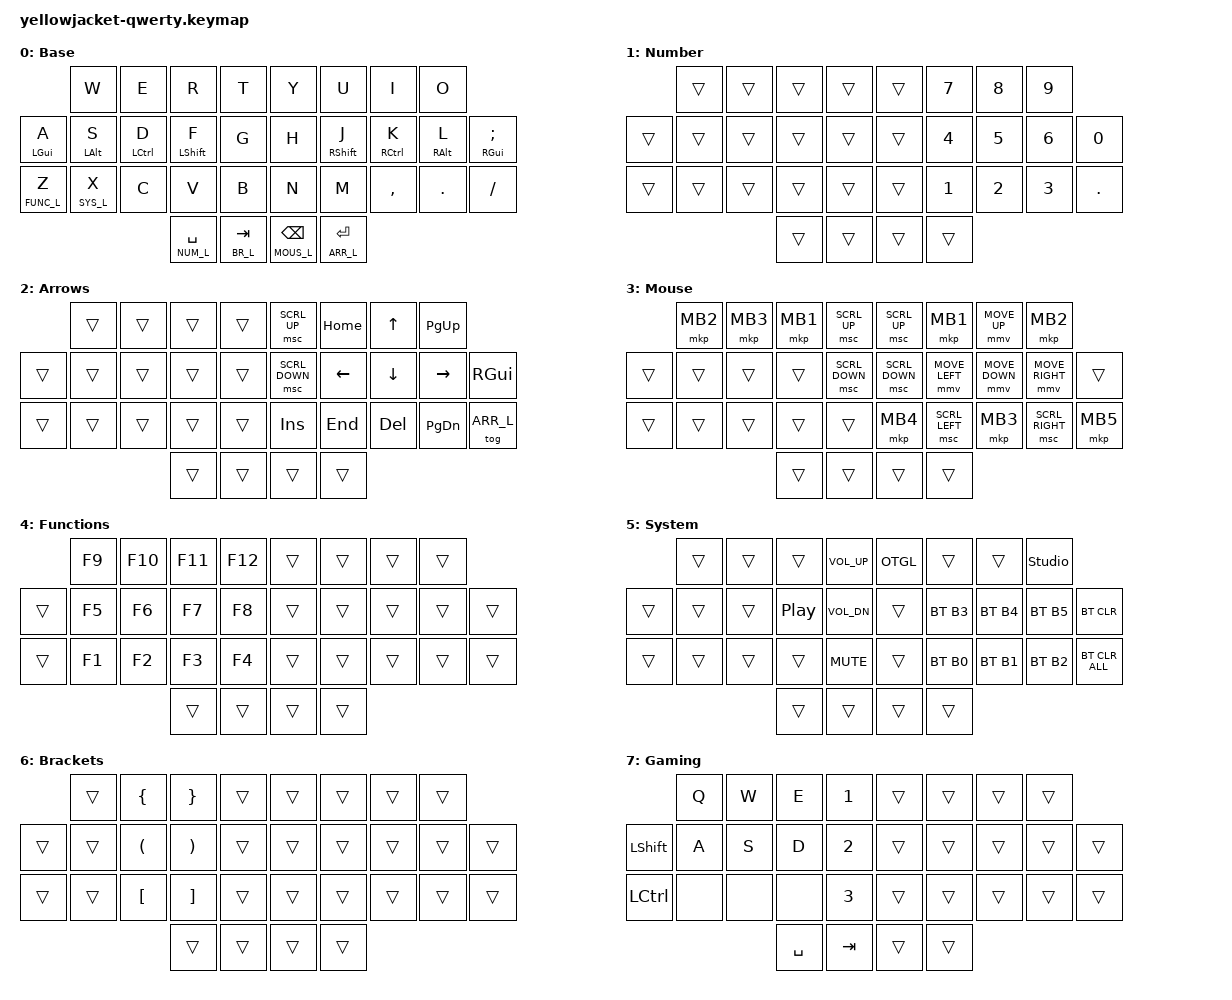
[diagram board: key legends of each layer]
/*
 * Copyright (c) 2020 The ZMK Contributors
 *
 * SPDX-License-Identifier: MIT
 */

#include <behaviors.dtsi>
#include <dt-bindings/zmk/bt.h>
#include <dt-bindings/zmk/ext_power.h>
#include <dt-bindings/zmk/keys.h>
#include <dt-bindings/zmk/outputs.h>

#define ZMK_POINTING_DEFAULT_MOVE_VAL 2000
#define ZMK_POINTING_DEFAULT_SCRL_VAL 20

#include <dt-bindings/zmk/pointing.h>


#define DEF_L  0
#define NUM_L  1
#define ARR_L  2
#define MOUS_L 3
#define FUNC_L 4
#define SYS_L  5
#define BR_L   6
#define GA_L   7

#define B0     BT_SEL 0
#define B1     BT_SEL 1
#define B2     BT_SEL 2
#define B3     BT_SEL 3
#define B4     BT_SEL 4
#define B5     BT_SEL 5
#define OTGL   out OUT_TOG
#define BT_C   BT_CLR
#define BT_C_A BT_CLR_ALL

/ {

    behaviors {
        hm: homerow_mods {
            compatible = "zmk,behavior-hold-tap";
            #binding-cells = <2>;
            tapping-term-ms = <150>;
            quick-tap-ms = <0>;
            flavor = "tap-preferred";
            bindings = <&kp>, <&kp>;
        };
    };

    combos {
        compatible = "zmk,combos";

        #define COMBO(NAME, BINDINGS, KEYPOS, LAYERS) \
          combo_##NAME { \
            bindings = <BINDINGS>; \
            key-positions = <KEYPOS>; \
            layers = <LAYERS>; \
          };
        /*                KEY POSITIONS

          ╭────────────────────╮ ╭────────────────────╮
          │      0   1   2   3 | |  4   5   6   7     │
          │  8   9  10  11  12 │ │ 13  14  15  16  17 │
          │ 18  19  20  21  22 │ │ 23  24  25  26  27 │
          ╰───────────╮ 28  29 │ │ 30  31 ╭───────────╯
                      ╰────────╯ ╰────────╯            */
        // Q combo at top corners
        COMBO(lower_q, &kp Q, 0 1, DEF_L)

        // P combo at top right
        COMBO(lower_p, &kp P, 6 7, DEF_L)

        // Colon and semi-colon
        COMBO(colon,     &kp COLON, 15 16, DEF_L)
        COMBO(semicolon, &kp SEMI,  24 25, DEF_L)

        // Escape Keys
        COMBO(left_esc,  &kp ESC, 10 11, DEF_L ARR_L MOUS_L GA_L)
        COMBO(right_esc, &kp ESC, 14 15, DEF_L ARR_L MOUS_L GA_L)

        // Double thumb turbo shift mode
        COMBO(ded_shift_combo, &kp LSHIFT, 29 30, DEF_L)

        // Left hand quotes
        COMBO(q_grave_l,        &kp GRAVE,          9 28, DEF_L)
        COMBO(q_single_quote_l, &kp SINGLE_QUOTE,  10 28, DEF_L)
        COMBO(q_quote_l,        &kp DOUBLE_QUOTES, 11 28, DEF_L)
        COMBO(q_tilde_l,        &kp TILDE,          8 28, DEF_L)

        // Quick numbers
        COMBO(q_0, &kp N0, 31 17, DEF_L)
        COMBO(q_1, &kp N1, 24 31, DEF_L)
        COMBO(q_2, &kp N2, 25 31, DEF_L)
        COMBO(q_3, &kp N3, 26 31, DEF_L)
        COMBO(q_4, &kp N4, 14 31, DEF_L)
        COMBO(q_5, &kp N5, 15 31, DEF_L)
        COMBO(q_6, &kp N6, 16 31, DEF_L)
        COMBO(q_7, &kp N7,  5 31, DEF_L)
        COMBO(q_8, &kp N8,  6 31, DEF_L)
        COMBO(q_9, &kp N9,  7 31, DEF_L)

        // Quick special characters
        COMBO(q_1_sp, &kp EXCLAMATION, 24 30, DEF_L)
        COMBO(q_2_sp, &kp AT_SIGN,     25 30, DEF_L)
        COMBO(q_3_sp, &kp POUND,       26 30, DEF_L)
        COMBO(q_4_sp, &kp DOLLAR,      14 30, DEF_L)
        COMBO(q_5_sp, &kp PERCENT,     15 30, DEF_L)
        COMBO(q_6_sp, &kp CARET,       16 30, DEF_L)
        COMBO(q_7_sp, &kp AMPERSAND,    5 30, DEF_L)
        COMBO(q_8_sp, &kp ASTERISK,     6 30, DEF_L)
        COMBO(q_9_sp, &kp LPAR,         7 30, DEF_L)

        // Backslash && Pipe
        COMBO(q_backslash, &kp BACKSLASH, 30 27, DEF_L)
        COMBO(q_pipe, &kp PIPE, 27 31, DEF_L)

        // Operators
        COMBO(q_equals, &kp EQUAL, 23 30, DEF_L)
        COMBO(q_plus,   &kp PLUS,  4 30, DEF_L)

        // Dash right hand
        COMBO(q_dash, &kp MINUS, 13 30, DEF_L)

        // Underscore left hand
        COMBO(q_underscore, &kp UNDER, 19 20, DEF_L)

        // Toggle arrow, mouse, or gaming layer
        COMBO(tog_mouse,  &tog MOUS_L, 17 30, DEF_L ARR_L MOUS_L GA_L)
        COMBO(tog_arrow,  &tog ARR_L,  30 31, DEF_L ARR_L MOUS_L GA_L)
        COMBO(tog_gaming, &tog GA_L,    4  7, DEF_L ARR_L MOUS_L GA_L)
    };

    conditional_layers {
        compatible = "zmk,conditional-layers";
    };

    keymap {
        compatible = "zmk,keymap";

        default_layer {
            label = "Base";
            bindings = <
        // ╭─────────────┬─────────────┬─────────────┬─────────────┬─────────────╮   ╭─────────────┬─────────────┬─────────────┬─────────────┬─────────────╮
                           &kp W         &kp E         &kp R         &kp T             &kp Y         &kp U         &kp I         &kp O
             &hm LGUI A    &hm LALT S    &hm LCTRL D   &hm LSHIFT F  &kp G             &kp H         &hm RSHIFT J  &hm RCTRL K   &hm RALT L    &hm RGUI SEMI
             &lt FUNC_L Z  &lt SYS_L X   &kp C         &kp V         &kp B             &kp N         &kp M         &kp COMMA     &kp DOT       &kp FSLH
        // ╰─────────────┴─────────────┴─────────────╮                                                           ╭─────────────┴─────────────┴─────────────╯
                                                    &lt NUM_L SPACE  &lt BR_L TAB &lt MOUS_L BACKSPACE &lt ARR_L ENTER
        //                                           ╰─────────────┴─────────────╯   ╰─────────────┴─────────────╯
            >;
        };

        num_layer {
            label = "Number";
            bindings = <
        // ╭─────────────┬─────────────┬─────────────┬─────────────┬─────────────╮   ╭─────────────┬─────────────┬─────────────┬─────────────┬─────────────╮
                             &trans        &trans        &trans        &trans              &trans       &kp N7        &kp N8        &kp N9
               &trans        &trans        &trans        &trans        &trans              &trans       &kp N4        &kp N5        &kp N6        &kp N0
               &trans        &trans        &trans        &trans        &trans              &trans       &kp N1        &kp N2        &kp N3        &kp DOT
        // ╰─────────────┴─────────────┴─────────────╮                                                           ╭─────────────┴─────────────┴─────────────╯
                                                         &trans        &trans              &trans       &trans
        //                                           ╰─────────────┴─────────────╯   ╰─────────────┴─────────────╯
            >;
        };

        arrow_layer {
            label = "Arrows";
            bindings = <
        // ╭─────────────┬─────────────┬─────────────┬─────────────┬─────────────╮   ╭─────────────┬─────────────┬─────────────┬─────────────┬─────────────╮
                             &trans        &trans        &trans        &trans            &msc SCRL_UP   &kp HOME      &kp UP        &kp PG_UP
               &trans        &trans        &trans        &trans        &trans            &msc SCRL_DOWN &kp LEFT      &kp DOWN      &kp RIGHT     &kp RGUI
               &trans        &trans        &trans        &trans        &trans            &kp INS        &kp END       &kp DEL       &kp PG_DN     &tog ARR_L
        // ╰─────────────┴─────────────┴─────────────╮                                                           ╭─────────────┴─────────────┴─────────────╯
                                                         &trans        &trans            &trans         &trans
        //                                           ╰─────────────┴─────────────╯   ╰─────────────┴─────────────╯
            >;
        };

        mouse_layer {
            label = "Mouse";
            bindings = <
        // ╭─────────────┬─────────────┬─────────────┬─────────────┬─────────────╮   ╭─────────────┬─────────────┬─────────────┬─────────────┬─────────────╮
                             &mkp MB2      &mkp MB3      &mkp MB1      &msc SCRL_UP     &msc SCRL_UP    &mkp MB1       &mmv MOVE_UP     &mkp MB2
               &trans        &trans        &trans        &trans        &msc SCRL_DOWN   &msc SCRL_DOWN  &mmv MOVE_LEFT &mmv MOVE_DOWN   &mmv MOVE_RIGHT &trans
               &trans        &trans        &trans        &trans        &trans           &mkp MB4        &msc SCRL_LEFT &mkp MB3         &msc SCRL_RIGHT &mkp MB5
        // ╰─────────────┴─────────────┴─────────────╮                                                           ╭─────────────┴─────────────┴─────────────╯
                                                         &trans        &trans           &trans          &trans
        //                                           ╰─────────────┴─────────────╯   ╰─────────────┴─────────────╯
            >;
        };

        function_layer {
            label = "Functions";
            bindings = <
        // ╭─────────────┬─────────────┬─────────────┬─────────────┬─────────────╮   ╭─────────────┬─────────────┬─────────────┬─────────────┬─────────────╮
                             &kp F9        &kp F10       &kp F11       &kp F12             &trans       &trans        &trans        &trans
               &trans        &kp F5        &kp F6        &kp F7        &kp F8              &trans       &trans        &trans        &trans        &trans
               &trans        &kp F1        &kp F2        &kp F3        &kp F4              &trans       &trans        &trans        &trans        &trans
        // ╰─────────────┴─────────────┴─────────────╮                                                           ╭─────────────┴─────────────┴─────────────╯
                                                         &trans        &trans              &trans       &trans
        //                                           ╰─────────────┴─────────────╯   ╰─────────────┴─────────────╯
            >;
        };
        
        sys_layer {
            label = "System";
            bindings = <
        // ╭─────────────┬─────────────┬─────────────┬─────────────┬─────────────╮   ╭─────────────┬─────────────┬─────────────┬─────────────┬─────────────╮
                           &trans         &trans        &trans         &kp C_VOL_UP       &OTGL          &trans      &trans        &studio_unlock
             &trans        &trans         &trans        &kp C_PP       &kp C_VOL_DN       &trans         &bt B3      &bt B4        &bt B5         &bt BT_C 
             &trans        &trans         &trans        &trans         &kp C_MUTE         &trans         &bt B0      &bt B1        &bt B2         &bt BT_CLR_ALL 
        // ╰─────────────┴─────────────┴─────────────╮                                                           ╭─────────────┴─────────────┴─────────────╯
                                                        &trans         &trans             &trans         &trans
        //                                           ╰─────────────┴─────────────╯   ╰─────────────┴─────────────╯
            >;
        };

        bra_layer {
            label = "Brackets";
            bindings = <
        // ╭─────────────┬─────────────┬─────────────┬─────────────┬─────────────╮   ╭─────────────┬─────────────┬─────────────┬─────────────┬─────────────╮
                             &trans        &kp LBRC      &kp RBRC      &trans            &trans         &trans        &trans        &trans
               &trans        &trans        &kp LPAR      &kp RPAR      &trans            &trans         &trans        &trans        &trans        &trans
               &trans        &trans        &kp LBKT      &kp RBKT      &trans            &trans         &trans        &trans        &trans        &trans
        // ╰─────────────┴─────────────┴─────────────╮                                                           ╭─────────────┴─────────────┴─────────────╯
                                                         &trans        &trans            &trans        &trans
        //                                           ╰─────────────┴─────────────╯   ╰─────────────┴─────────────╯
            >;
        };

        gaming_layer {
            label = "Gaming";
            bindings = <
        // ╭─────────────┬─────────────┬─────────────┬─────────────┬─────────────╮   ╭─────────────┬─────────────┬─────────────┬─────────────┬─────────────╮
                             &kp Q         &kp W         &kp E         &kp N1            &trans         &trans        &trans        &trans
               &kp LSHIFT    &kp A         &kp S         &kp D         &kp N2            &trans         &trans        &trans        &trans        &trans
               &kp LCTRL     &none         &none         &none         &kp N3            &trans         &trans        &trans        &trans        &trans
        // ╰─────────────┴─────────────┴─────────────╮                                                           ╭─────────────┴─────────────┴─────────────╯
                                                         &kp SPACE     &kp TAB           &trans        &trans
        //                                           ╰─────────────┴─────────────╯   ╰─────────────┴─────────────╯
            >;
        };

        extra1 {
            status = "reserved";
        };

        extra2 {
            status = "reserved";
        };

        extra3 {
            status = "reserved";
        };

    };
};

/*
        _layer {
            label = "";
            bindings = <
        // ╭─────────────┬─────────────┬─────────────┬─────────────┬─────────────╮   ╭─────────────┬─────────────┬─────────────┬─────────────┬─────────────╮
                           &none         &none         &none         &none             &none         &kp F9        &kp F10       &kp F11
             &none         &none         &none         &none         &none             &none         &kp F1        &kp F2        &kp F3        &kp F4 
             &none         &none         &none         &none         &none             &none         &kp F5        &kp F6        &kp F7        &kp F8 
        // ╰─────────────┴─────────────┴─────────────╮                                                           ╭─────────────┴─────────────┴─────────────╯
                                                       &none         &none             &none         &none
        //                                           ╰─────────────┴─────────────╯   ╰─────────────┴─────────────╯
            >;
        };
*/
